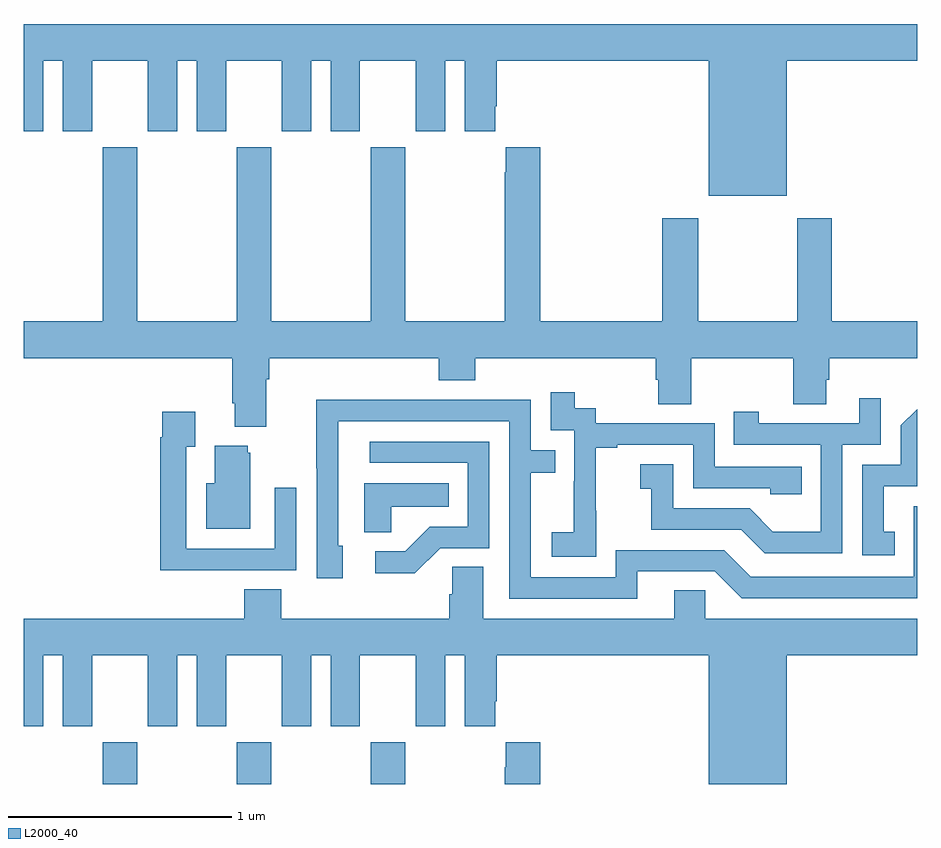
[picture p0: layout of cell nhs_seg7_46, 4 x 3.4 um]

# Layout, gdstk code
import gdstk
lib = gdstk.Library(unit=1e-6, precision=1e-09)
def R(c, l, rs):  # rectangles x0, y0, x1, y1
    for r in rs: c.add(gdstk.rectangle(r[:2], r[2:], *l))
def A(c, l, x, y, w, h, nx, ny, dx, dy):  # array of equal rectangles
    R(c, l, [(x+i*dx, y+j*dy, x+i*dx+w, y+j*dy+h) for i in range(nx) for j in range(ny)])
def P(c, l, *ps):  # polygons
    for p in ps: c.add(gdstk.Polygon(p, *l))
L2000_40 = (2000, 40)

nhs_seg7_46 = lib.new_cell('nhs_seg7_46')
A(nhs_seg7_46, L2000_40, 113.353, 1040, 0.155, 0.188, 3, 1, 0.6, 0)
P(nhs_seg7_46, L2000_40, [(116.416,1043.24),(117,1043.24),(117,1043.404),(113,1043.404),(113,1042.923),(113.086,1042.923),(113.086,1043.24),(113.174,1043.24),(113.174,1042.923),(113.305,1042.923),(113.305,1043.24),(113.555,1043.24),(113.555,1042.923),(113.686,1042.923),(113.686,1043.24),(113.774,1043.24),(113.774,1042.923),(113.905,1042.923),(113.905,1043.24),(114.155,1043.24),(114.155,1042.923),(114.286,1042.923),(114.286,1043.24),(114.374,1043.24),(114.374,1042.923),(114.505,1042.923),(114.505,1043.24),(114.755,1043.24),(114.755,1042.923),(114.886,1042.923),(114.886,1043.24),(114.974,1043.24),(114.974,1042.923),(115.111,1042.923),(115.111,1043.035),(115.118,1043.035),(115.118,1043.24),(116.066,1043.24),(116.066,1042.634),(116.416,1042.634)],
  [(114.085,1041.812),(114.098,1041.812),(114.098,1041.908),(114.857,1041.908),(114.857,1041.809),(115.022,1041.809),(115.022,1041.908),(115.829,1041.908),(115.829,1041.81),(115.841,1041.81),(115.841,1041.7),(115.989,1041.7),(115.989,1041.908),(116.446,1041.908),(116.446,1041.7),(116.593,1041.7),(116.593,1041.81),(116.606,1041.81),(116.606,1041.908),(117,1041.908),(117,1042.072),(116.619,1042.072),(116.619,1042.534),(116.464,1042.534),(116.464,1042.072),(116.019,1042.072),(116.019,1042.534),(115.859,1042.534),(115.859,1042.072),(115.313,1042.072),(115.313,1042.852),(115.157,1042.852),(115.157,1042.739),(115.153,1042.739),(115.153,1042.072),(114.708,1042.072),(114.708,1042.852),(114.553,1042.852),(114.553,1042.072),(114.108,1042.072),(114.108,1042.852),(113.953,1042.852),(113.953,1042.072),(113.508,1042.072),(113.508,1042.852),(113.353,1042.852),(113.353,1042.072),(113,1042.072),(113,1041.908),(113.933,1041.908),(113.933,1041.706),(113.945,1041.706),(113.945,1041.599),(114.085,1041.599)],
  [(115.563,1041.223),(115.562,1041.223),(115.562,1041.507),(115.657,1041.507),(115.657,1041.519),(115.998,1041.519),(115.998,1041.324),(116.343,1041.324),(116.343,1041.297),(116.483,1041.297),(116.483,1041.42),(116.094,1041.42),(116.094,1041.615),(115.56,1041.615),(115.56,1041.684),(115.468,1041.684),(115.468,1041.754),(115.359,1041.754),(115.359,1041.585),(115.464,1041.585),(115.464,1041.356),(115.463,1041.356),(115.463,1041.127),(115.365,1041.127),(115.365,1041.017),(115.563,1041.017)],
  [(116.664,1041.519),(116.838,1041.519),(116.838,1041.727),(116.741,1041.727),(116.741,1041.615),(116.29,1041.615),(116.29,1041.667),(116.179,1041.667),(116.179,1041.519),(116.568,1041.519),(116.568,1041.13),(116.354,1041.13),(116.25,1041.234),(115.908,1041.234),(115.908,1041.433),(115.761,1041.433),(115.761,1041.323),(115.81,1041.323),(115.81,1041.138),(116.213,1041.138),(116.318,1041.033),(116.664,1041.033)],
  [(115.747,1040.952),(116.094,1040.952),(116.214,1040.832),(117,1040.832),(117,1041.243),(116.985,1041.243),(116.985,1040.928),(116.256,1040.928),(116.136,1041.048),(115.65,1041.048),(115.65,1040.925),(115.269,1040.925),(115.269,1041.394),(115.379,1041.394),(115.379,1041.495),(115.269,1041.495),(115.269,1041.72),(114.773,1041.72),(114.773,1041.722),(114.31,1041.722),(114.31,1041.415),(114.312,1041.415),(114.312,1040.922),(114.427,1040.922),(114.427,1041.066),(114.408,1041.066),(114.408,1041.624),(115.173,1041.624),(115.173,1040.829),(115.747,1040.829)],
  [(116.9,1041.129),(116.851,1041.129),(116.851,1041.333),(117,1041.333),(117,1041.678),(116.928,1041.606),(116.928,1041.429),(116.754,1041.429),(116.754,1041.024),(116.9,1041.024)],
  [(113.903,1040.958),(114.219,1040.958),(114.219,1041.328),(114.123,1041.328),(114.123,1041.054),(113.727,1041.054),(113.727,1041.511),(113.767,1041.511),(113.767,1041.667),(113.619,1041.667),(113.619,1041.554),(113.611,1041.554),(113.611,1040.957),(113.903,1040.957)],
  [(114.864,1041.057),(115.083,1041.057),(115.083,1041.534),(114.549,1041.534),(114.549,1041.438),(114.987,1041.438),(114.987,1041.153),(114.818,1041.153),(114.707,1041.042),(114.573,1041.042),(114.573,1040.945),(114.751,1040.945)],
  [(114.013,1041.483),(114.002,1041.483),(114.002,1041.514),(113.855,1041.514),(113.855,1041.346),(113.816,1041.346),(113.816,1041.143),(114.013,1041.143)],
  [(114.645,1041.242),(114.902,1041.242),(114.902,1041.346),(114.524,1041.346),(114.524,1041.127),(114.645,1041.127)],
  [(116.416,1040.576),(117,1040.576),(117,1040.74),(116.052,1040.74),(116.052,1040.867),(115.913,1040.867),(115.913,1040.74),(115.057,1040.74),(115.057,1040.972),(114.918,1040.972),(114.918,1040.849),(114.905,1040.849),(114.905,1040.74),(114.152,1040.74),(114.152,1040.873),(113.987,1040.873),(113.987,1040.74),(113,1040.74),(113,1040.259),(113.086,1040.259),(113.086,1040.576),(113.174,1040.576),(113.174,1040.259),(113.305,1040.259),(113.305,1040.576),(113.555,1040.576),(113.555,1040.259),(113.686,1040.259),(113.686,1040.576),(113.774,1040.576),(113.774,1040.259),(113.905,1040.259),(113.905,1040.576),(114.155,1040.576),(114.155,1040.259),(114.286,1040.259),(114.286,1040.576),(114.374,1040.576),(114.374,1040.259),(114.505,1040.259),(114.505,1040.576),(114.755,1040.576),(114.755,1040.259),(114.886,1040.259),(114.886,1040.576),(114.974,1040.576),(114.974,1040.259),(115.111,1040.259),(115.111,1040.371),(115.118,1040.371),(115.118,1040.576),(116.066,1040.576),(116.066,1040),(116.416,1040)],
  [(115.313,1040.188),(115.157,1040.188),(115.157,1040.075),(115.153,1040.075),(115.153,1040),(115.313,1040)])

lib.write_gds('nhs_seg7_46.gds')
